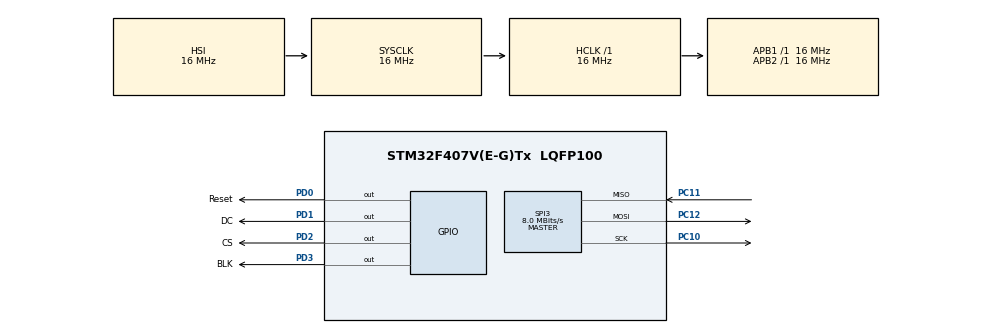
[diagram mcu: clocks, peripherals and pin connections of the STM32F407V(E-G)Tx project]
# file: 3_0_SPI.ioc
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IWDG.Prescaler=IWDG_PRESCALER_256
IWDG.Reload=250
Mcu.Family=STM32F4
Mcu.Name=STM32F407V(E-G)Tx
Mcu.Package=LQFP100
NVIC.PriorityGroup=NVIC_PRIORITYGROUP_4
PC10.Mode=Full_Duplex_Master
PC10.Signal=SPI3_SCK
PC11.Mode=Full_Duplex_Master
PC11.Signal=SPI3_MISO
PC12.Mode=Full_Duplex_Master
PC12.Signal=SPI3_MOSI
PD0.GPIO_Label=Reset
PD0.Signal=GPIO_Output
PD1.GPIO_Label=DC
PD1.Signal=GPIO_Output
PD2.GPIO_Label=CS
PD2.Signal=GPIO_Output
PD3.GPIO_Label=BLK
PD3.PinState=GPIO_PIN_SET
PD3.Signal=GPIO_Output
ProjectManager.HeapSize=0x200
ProjectManager.StackSize=0x400
ProjectManager.TargetToolchain=STM32CubeIDE
RCC.AHBFreq_Value=16000000
RCC.APB1Freq_Value=16000000
RCC.APB2Freq_Value=16000000
RCC.CortexFreq_Value=16000000
RCC.HSE_VALUE=25000000
RCC.HSI_VALUE=16000000
RCC.LSE_VALUE=32768
RCC.SYSCLKFreq_VALUE=16000000
RCC.VCOOutputFreq_Value=192000000
SPI3.BaudRatePrescaler=SPI_BAUDRATEPRESCALER_2
SPI3.CLKPolarity=SPI_POLARITY_HIGH
SPI3.CalculateBaudRate=8.0 MBits/s
SPI3.Direction=SPI_DIRECTION_2LINES
SPI3.Mode=SPI_MODE_MASTER
SPI3.VirtualType=VM_MASTER
VP_IWDG_VS_IWDG.Mode=IWDG_Activate
board=custom

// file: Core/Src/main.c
/* USER CODE BEGIN Header */
/**
  ******************************************************************************
  * @file           : main.c
  * @brief          : Main program body
  ******************************************************************************
  * @attention
  *
  * Copyright (c) 2024 STMicroelectronics.
  * All rights reserved.
  *
  * This software is licensed under terms that can be found in the LICENSE file
  * in the root directory of this software component.
  * If no LICENSE file comes with this software, it is provided AS-IS.
  *
  ******************************************************************************
  */
/* USER CODE END Header */
#include "main.h"
#include "iwdg.h"
#include "spi.h"
#include "gpio.h"

/* USER CODE BEGIN PTD */
#define ST7789_READ_DISPLAY 	  0x0B
/* USER CODE END PTD */

/* USER CODE BEGIN PM */
#define ST7789_WIDTH			240
#define ST7789_HEIGHT			240

#define ST7789_RST_PORT			GPIOD
#define ST7789_RST_PIN			GPIO_PIN_0

#define ST7789_DC_PORT			GPIOD
#define ST7789_DC_PIN			GPIO_PIN_1

#define ST7789_CS_PORT			GPIOD
#define ST7789_CS_PIN			GPIO_PIN_2

#define ST7789_BLK_PORT			GPIOD
#define ST7789_BLK_PIN			GPIO_PIN_3

#define ST7789_SPI_PORT 		hspi3

/* Sleep Out */
#define ST7789_SLPOUT					 0x11
/* Normal Display Mode On*/
#define ST7789_NORON				  	 0x13
/* Display Inversion Off*/
#define ST7789_INVOFF  					 0x20
#define ST7789_INVON   					 0x21
/* Display On*/
#define ST7789_DISPON 	 				 0x29
/* Column Address Set */
#define ST7789_CASET   					 0x2A
/* Row Address Set */
#define ST7789_RASET   					 0x2B
/* Memory Write	*/
#define ST7789_RAMWR					 0x2c
/* Idle Mode Off*/
#define ST7789_IDMOFF					 0x38
/* Interface Pixel Format*/
#define ST7789_COLMOD					 0x3A
/* Write Display Brightness	*/
#define ST7789_WRDISBV					 0x51
/* Porch Setting*/
#define ST7789_PORCTRL					 0xB2

/** MADCTL
 * Memory Data Access Control Register (0x36H)
 * MAP:     D7  D6  D5  D4  D3  D2  D1  D0
 * param:   MY  MX  MV  ML  RGB MH  -   -
 *
 */

/* Page Address Order ('0': Top to Bottom, '1': the opposite) */
#define ST7789_MADCTL_MY  		0x80
/* Column Address Order ('0': Left to Right, '1': the opposite) */
#define ST7789_MADCTL_MX  		0x40
/* Page/Column Order ('0' = Normal Mode, '1' = Reverse Mode) */
#define ST7789_MADCTL_MV  		0x20
/* Line Address Order ('0' = LCD Refresh Top to Bottom, '1' = the opposite) */
#define ST7789_MADCTL_ML  		0x10
/* RGB/BGR Order ('0' = RGB, '1' = BGR) */
#define ST7789_MADCTL_RGB 		0x00
/* Display Data Latch Data Order ('0' = LCD Refresh Left to Right, '1' = the opposite)*/
#define ST7789_MADCTL_MH  		0x00

/* Advanced options */
#define ST7789_COLOR_MODE_16bit 0x55    //  RGB565 (16bit)
#define ST7789_COLOR_MODE_18bit 0x66    //  RGB666 (18bit)

#define WHITE 					0xFFFF
#define BLACK      				0x0000
#define BLUE        			0x001F
#define RED         			0xF800
#define MAGENTA     			0xF81F
#define GREEN       			0x07E0
#define CYAN        			0x7FFF
#define YELLOW      			0xFFE0
#define GRAY        			0X8430
#define BRED        			0XF81F
#define GRED        			0XFFE0
#define GBLUE       			0X07FF
#define BROWN       			0XBC40
#define BRRED       			0XFC07
#define DARKBLUE    			0X01CF
#define LIGHTBLUE   			0X7D7C
#define GRAYBLUE    			0X5458
/* USER CODE END PM */

void SystemClock_Config(void);

int main(void)
{

  /* MCU Configuration--------------------------------------------------------*/

  /* Reset of all peripherals, Initializes the Flash interface and the Systick. */
  HAL_Init();

  /* Configure the system clock */
  SystemClock_Config();

  /* Initialize all configured peripherals */
  MX_GPIO_Init();
  MX_SPI3_Init();
  MX_IWDG_Init();
  /* USER CODE BEGIN 2 */

  HAL_SPI_StateTypeDef spi_status = HAL_SPI_GetState(&hspi3);

  HAL_Delay(10);
  HAL_GPIO_WritePin(ST7789_BLK_PORT, ST7789_BLK_PIN, GPIO_PIN_RESET);

  HAL_Delay(10);
  HAL_GPIO_WritePin(ST7789_RST_PORT, ST7789_RST_PIN, GPIO_PIN_RESET);
  HAL_Delay(10);
  HAL_GPIO_WritePin(ST7789_RST_PORT, ST7789_RST_PIN, GPIO_PIN_SET);
  HAL_Delay(20);

  ST7789_SendCommand(ST7789_COLMOD);					//	Set color mode
  ST7789_SendSmallData(ST7789_COLOR_MODE_18bit);

  spi_status = HAL_SPI_GetState(&hspi3);

  ST7789_SendCommand(ST7789_PORCTRL);				//	Porch control
  {
  	uint8_t data[] = {0x0C, 0x0C, 0x00, 0x33, 0x33};
  	ST7789_SendData(data, sizeof(data));
  }

  /* Internal LCD Voltage generator settings */
  ST7789_SendCommand(0XB7);				//	Gate Control
  ST7789_SendSmallData(0x35);			//	Default value
  ST7789_SendCommand(0xBB);				//	VCOM setting
  ST7789_SendSmallData(0x19);			//	0.725v (default 0.75v for 0x20)
  ST7789_SendCommand(0xC0);				//	LCMCTRL
  ST7789_SendSmallData (0x2C);			//	Default value
  ST7789_SendCommand (0xC2);				//	VDV and VRH command Enable
  ST7789_SendSmallData (0x01);			//	Default value
  ST7789_SendCommand (0xC3);				//	VRH set
  ST7789_SendSmallData (0x12);			//	+-4.45v (defalut +-4.1v for 0x0B)
  ST7789_SendCommand (0xC4);				//	VDV set
  ST7789_SendSmallData (0x20);			//	Default value
  ST7789_SendCommand (0xC6);				//	Frame rate control in normal mode
  ST7789_SendSmallData (0x0F);			//	Default value (60HZ)
  ST7789_SendCommand (0xD0);				//	Power control
  ST7789_SendSmallData (0xA4);			//	Default value
  ST7789_SendSmallData (0xA1);			//	Default value

  /**************** Division line ****************/

  ST7789_SendCommand(0xE0);
  {
	 uint8_t data[] = {0xD0, 0x04, 0x0D, 0x11, 0x13, 0x2B, 0x3F, 0x54, 0x4C, 0x18, 0x0D, 0x0B, 0x1F, 0x23};
	 ST7789_SendData(data, sizeof(data));
  }

  ST7789_SendCommand(0xE1);
  {
	  uint8_t data[] = {0xD0, 0x04, 0x0C, 0x11, 0x13, 0x2C, 0x3F, 0x44, 0x51, 0x2F, 0x1F, 0x1F, 0x20, 0x23};
	  ST7789_SendData(data, sizeof(data));
  }

  ST7789_SendCommand(ST7789_INVON);
  ST7789_SendCommand(ST7789_SLPOUT);
  ST7789_SendCommand(ST7789_NORON);
  ST7789_SendCommand(ST7789_DISPON);

  HAL_Delay(50);
  ST7789_Fill_Color(WHITE);
  HAL_Delay(2000);
  ST7789_Fill_Color(BLACK);
  HAL_Delay(2000);
  ST7789_Fill_Color(YELLOW);

 /*
  ST7789_SendCommand(ST7789_Write_Display_Brightness);
  ST7789_SendSmallData(ST7789_WHITE);

  ST7789_SendCommand(ST7789_Idle_Mode_Off);

  ST7789_SendCommand(ST7789_Memory_Write);
  HAL_Delay(10);

  uint8_t data = 0x00;
  ST7789_SendSmallData(data);

*/

  /* USER CODE END 2 */

  /* Infinite loop */
  while (1)
  {

  }
}

void SystemClock_Config(void)
{
  RCC_OscInitTypeDef RCC_OscInitStruct = {0};
  RCC_ClkInitTypeDef RCC_ClkInitStruct = {0};

  /** Configure the main internal regulator output voltage
  */
  __HAL_RCC_PWR_CLK_ENABLE();
  __HAL_PWR_VOLTAGESCALING_CONFIG(PWR_REGULATOR_VOLTAGE_SCALE1);

  /** Initializes the RCC Oscillators according to the specified parameters
  * in the RCC_OscInitTypeDef structure.
  */
  RCC_OscInitStruct.OscillatorType = RCC_OSCILLATORTYPE_HSI|RCC_OSCILLATORTYPE_LSI;
  RCC_OscInitStruct.HSIState = RCC_HSI_ON;
  RCC_OscInitStruct.HSICalibrationValue = RCC_HSICALIBRATION_DEFAULT;
  RCC_OscInitStruct.LSIState = RCC_LSI_ON;
  RCC_OscInitStruct.PLL.PLLState = RCC_PLL_NONE;
  if (HAL_RCC_OscConfig(&RCC_OscInitStruct) != HAL_OK)
  {
    Error_Handler();
  }

  /** Initializes the CPU, AHB and APB buses clocks
  */
  RCC_ClkInitStruct.ClockType = RCC_CLOCKTYPE_HCLK|RCC_CLOCKTYPE_SYSCLK
                              |RCC_CLOCKTYPE_PCLK1|RCC_CLOCKTYPE_PCLK2;
  RCC_ClkInitStruct.SYSCLKSource = RCC_SYSCLKSOURCE_HSI;
  RCC_ClkInitStruct.AHBCLKDivider = RCC_SYSCLK_DIV1;
  RCC_ClkInitStruct.APB1CLKDivider = RCC_HCLK_DIV1;
  RCC_ClkInitStruct.APB2CLKDivider = RCC_HCLK_DIV1;

  if (HAL_RCC_ClockConfig(&RCC_ClkInitStruct, FLASH_LATENCY_0) != HAL_OK)
  {
    Error_Handler();
  }
}

/* USER CODE BEGIN 4 */
void ST7789_SendCommand(uint8_t cmd){
	 HAL_GPIO_WritePin(ST7789_CS_PORT, ST7789_CS_PIN, GPIO_PIN_RESET);
	 HAL_GPIO_WritePin(ST7789_DC_PORT, ST7789_DC_PIN, GPIO_PIN_RESET);  // DC reset for sending command

	 HAL_SPI_Transmit(&hspi3, &cmd, sizeof(cmd), HAL_MAX_DELAY);

	 HAL_GPIO_WritePin(ST7789_CS_PORT, ST7789_CS_PIN, GPIO_PIN_SET);
}

void ST7789_SendSmallData(uint8_t data){
	HAL_GPIO_WritePin(ST7789_CS_PORT, ST7789_CS_PIN, GPIO_PIN_RESET);
		 HAL_GPIO_WritePin(ST7789_DC_PORT, ST7789_DC_PIN, GPIO_PIN_SET);  // DC set for sending data

		 HAL_SPI_Transmit(&hspi3, &data, sizeof(data), HAL_MAX_DELAY);

		 HAL_GPIO_WritePin(ST7789_CS_PORT, ST7789_CS_PIN, GPIO_PIN_SET);
}

void ST7789_SendData(uint8_t *buff, size_t buff_size)
{
	HAL_GPIO_WritePin(ST7789_CS_PORT, ST7789_CS_PIN, GPIO_PIN_RESET);
	HAL_GPIO_WritePin(ST7789_DC_PORT, ST7789_DC_PIN, GPIO_PIN_SET);

	// split data in small chunks because HAL can't send more than 64K at once

	while (buff_size > 0) {
		uint16_t chunk_size = buff_size > 65535 ? 65535 : buff_size;

			HAL_SPI_Transmit(&ST7789_SPI_PORT, buff, chunk_size, HAL_MAX_DELAY);

		buff += chunk_size;
		buff_size -= chunk_size;
	}

	 HAL_GPIO_WritePin(ST7789_CS_PORT, ST7789_CS_PIN, GPIO_PIN_SET);
}

void ST7789_SetAddressWindow(uint16_t x_start, uint16_t y_start, uint16_t x_end, uint16_t y_end)
{
	HAL_GPIO_WritePin(ST7789_CS_PORT, ST7789_CS_PIN, GPIO_PIN_RESET);
/* Write to RAM */
	ST7789_SendCommand(ST7789_RAMWR);

	/* Column Address set */
	ST7789_SendCommand(ST7789_CASET);
	{
		uint8_t data[] = {x_start >> 8, x_start & 0xFF, x_end >> 8, x_end & 0xFF};
		ST7789_SendData(data, sizeof(data));
	}

	/* Row Address set */
	ST7789_SendCommand(ST7789_RASET);
	{
		uint8_t data[] = {y_start >> 8, y_start & 0xFF, y_end >> 8, y_end & 0xFF};
		ST7789_SendData(data, sizeof(data));
	}

	 HAL_GPIO_WritePin(ST7789_CS_PORT, ST7789_CS_PIN, GPIO_PIN_SET);
}

void ST7789_Fill_Color(uint16_t color)
{
	uint16_t i;
	ST7789_SetAddressWindow(0, 0, ST7789_WIDTH - 1, ST7789_HEIGHT - 1);
	HAL_GPIO_WritePin(ST7789_CS_PORT, ST7789_CS_PIN, GPIO_PIN_RESET);

	uint16_t j;
	for (i = 0; i < ST7789_WIDTH; i++)
			for (j = 0; j < ST7789_HEIGHT; j++) {
				uint8_t data[] = {color >> 8, color & 0xFF};
				ST7789_SendData(data, sizeof(data));
			}

	 HAL_GPIO_WritePin(ST7789_CS_PORT, ST7789_CS_PIN, GPIO_PIN_SET);
}

/* USER CODE END 4 */

void Error_Handler(void)
{
  __disable_irq();
  while (1)
  {
  }
}
